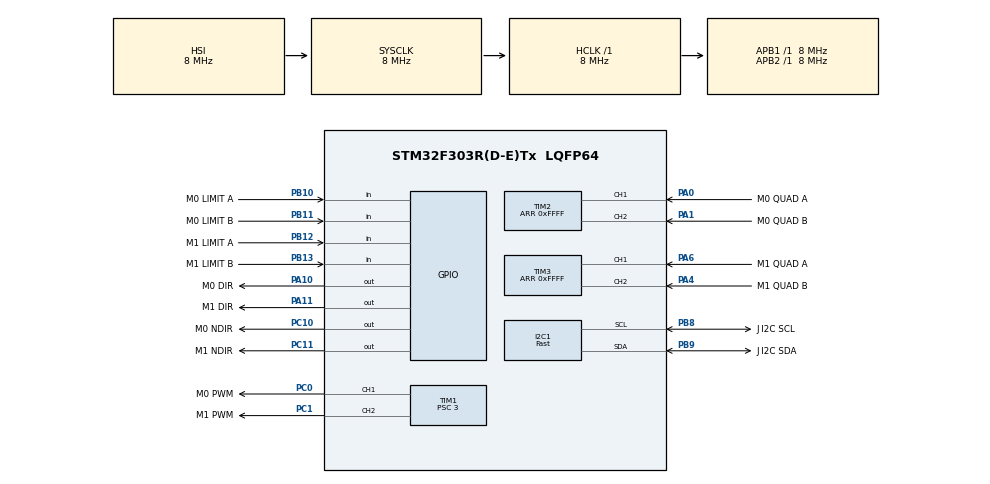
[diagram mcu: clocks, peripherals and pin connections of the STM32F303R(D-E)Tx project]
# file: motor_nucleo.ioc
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I2C1.DualAddressMode=I2C_DUALADDRESS_ENABLE
I2C1.I2C_Speed_Mode=I2C_Fast
I2C1.NoStretchMode=I2C_NOSTRETCH_DISABLE
I2C1.OwnAddress=0x7F
I2C1.OwnAddress2=I2C_ADDRESS
I2C1.OwnAddress2Masks=I2C_OA2_MASK04
I2C1.Timing=0x0000020B
Mcu.Family=STM32F3
Mcu.Name=STM32F303R(D-E)Tx
Mcu.Package=LQFP64
Mcu.UserConstants=CONTROL_LOOP_PERIOD,1000;I2C_ADDRESS,0x20;CHANNELS,6;QUADRATURE_FILTER,8;PWM_PERIOD,10000
NVIC.I2C1_ER_IRQn=true\:0\:0\:false\:false\:true\:true\:true\:true
NVIC.I2C1_EV_IRQn=true\:0\:0\:false\:false\:true\:true\:true\:true
NVIC.PriorityGroup=NVIC_PRIORITYGROUP_4
NVIC.TIM6_DAC_IRQn=true\:1\:0\:true\:false\:true\:true\:true\:true
PA0.GPIO_Label=M0 QUAD A
PA0.Signal=S_TIM2_CH1_ETR
PA1.GPIO_Label=M0 QUAD B
PA1.Signal=S_TIM2_CH2
PA10.GPIO_Label=M0 DIR
PA10.Signal=GPIO_Output
PA11.GPIO_Label=M1 DIR
PA11.Signal=GPIO_Output
PA4.GPIO_Label=M1 QUAD B
PA4.Signal=S_TIM3_CH2
PA6.GPIO_Label=M1 QUAD A
PA6.Signal=S_TIM3_CH1
PB10.GPIO_Label=M0 LIMIT A
PB10.GPIO_PuPd=GPIO_PULLDOWN
PB10.Signal=GPIO_Input
PB11.GPIO_Label=M0 LIMIT B
PB11.GPIO_PuPd=GPIO_PULLDOWN
PB11.Signal=GPIO_Input
PB12.GPIO_Label=M1 LIMIT A
PB12.GPIO_PuPd=GPIO_PULLDOWN
PB12.Signal=GPIO_Input
PB13.GPIO_Label=M1 LIMIT B
PB13.GPIO_PuPd=GPIO_PULLDOWN
PB13.Signal=GPIO_Input
PB8.GPIO_Label=J I2C SCL
PB8.GPIO_Pu=GPIO_PULLUP
PB8.Mode=I2C
PB8.Signal=I2C1_SCL
PB9.GPIO_Label=J I2C SDA
PB9.GPIO_Pu=GPIO_PULLUP
PB9.Mode=I2C
PB9.Signal=I2C1_SDA
PC0.GPIO_Label=M0 PWM
PC0.Signal=S_TIM1_CH1
PC1.GPIO_Label=M1 PWM
PC1.Signal=S_TIM1_CH2
PC10.GPIO_Label=M0 NDIR
PC10.Signal=GPIO_Output
PC11.GPIO_Label=M1 NDIR
PC11.Signal=GPIO_Output
ProjectManager.HeapSize=0x200
ProjectManager.StackSize=0x400
ProjectManager.TargetToolchain=STM32CubeIDE
RCC.AHBFreq_Value=8000000
RCC.APB1Freq_Value=8000000
RCC.APB2Freq_Value=8000000
RCC.CortexFreq_Value=8000000
RCC.HSE_VALUE=8000000
RCC.HSI_VALUE=8000000
RCC.LSE_VALUE=32768
RCC.SYSCLKFreq_VALUE=8000000
RCC.USBFreq_Value=16000000
SH.S_TIM1_CH1.0=TIM1_CH1,PWM Generation1 CH1
SH.S_TIM1_CH2.0=TIM1_CH2,PWM Generation2 CH2
SH.S_TIM2_CH1_ETR.0=TIM2_CH1,Encoder_Interface
SH.S_TIM2_CH2.0=TIM2_CH2,Encoder_Interface
SH.S_TIM3_CH1.0=TIM3_CH1,Encoder_Interface
SH.S_TIM3_CH2.0=TIM3_CH2,Encoder_Interface
TIM1.Channel-PWM\ Generation1\ CH1=TIM_CHANNEL_1
TIM1.Channel-PWM\ Generation2\ CH2=TIM_CHANNEL_2
TIM1.Period=100
TIM1.Prescaler=3
TIM2.IC1Filter=QUADRATURE_FILTER
TIM2.IC2Filter=QUADRATURE_FILTER
TIM2.Period=0xFFFF
TIM3.IC1Filter=QUADRATURE_FILTER
TIM3.IC2Filter=QUADRATURE_FILTER
TIM3.Period=0xFFFF
TIM6.Period=CONTROL_LOOP_PERIOD
TIM6.Prescaler=7
TIM8.Period=1000
TIM8.Prescaler=7
VP_TIM1_VS_ClockSourceINT.Mode=Internal
VP_TIM6_VS_ClockSourceINT.Mode=Enable_Timer
VP_TIM8_VS_ClockSourceINT.Mode=Internal
board=custom

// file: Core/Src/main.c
/* USER CODE BEGIN Header */
/**
 ******************************************************************************
 * @file           : main.c
 * @brief          : Main program body
 ******************************************************************************
 * @attention
 *
 * <h2><center>&copy; Copyright (c) 2020 STMicroelectronics.
 * All rights reserved.</center></h2>
 *
 * This software component is licensed by ST under BSD 3-Clause license,
 * the "License"; You may not use this file except in compliance with the
 * License. You may obtain a copy of the License at:
 *                        opensource.org/licenses/BSD-3-Clause
 *
 ******************************************************************************
 */
/* USER CODE END Header */
#include "main.h"

/* USER CODE BEGIN Includes */
#include "motor.h"
#include "i2c_bridge.h"

/* USER CODE END Includes */

/* USER CODE BEGIN PD */

#define NUM_MOTORS 1  // TODO make this 6, not 1

/* USER CODE END PD */

I2C_HandleTypeDef hi2c1;

TIM_HandleTypeDef htim1;
TIM_HandleTypeDef htim2;
TIM_HandleTypeDef htim3;
TIM_HandleTypeDef htim6;
TIM_HandleTypeDef htim8;

/* USER CODE BEGIN PV */

Pin *hbridge_forward_pins[NUM_MOTORS] = {NULL};
Pin *hbridge_backward_pins[NUM_MOTORS] = {NULL};
HBridge *hbridges[NUM_MOTORS] = {NULL};

Pin *forward_limit_switch_pins[NUM_MOTORS] = {NULL};
Pin *backward_limit_switch_pins[NUM_MOTORS] = {NULL};

LimitSwitch *forward_limit_switches[NUM_MOTORS] = {NULL};
LimitSwitch *backward_limit_switches[NUM_MOTORS] = {NULL};

QuadEncoder *quad_encoders[NUM_MOTORS] = {NULL};

ClosedLoopControl *controls[NUM_MOTORS] = {NULL};

Motor *motors[NUM_MOTORS] = {NULL};
I2CBus *i2c_bus;

/* USER CODE END PV */

void SystemClock_Config(void);
static void MX_GPIO_Init(void);
static void MX_I2C1_Init(void);
static void MX_TIM1_Init(void);
static void MX_TIM2_Init(void);
static void MX_TIM3_Init(void);
static void MX_TIM8_Init(void);
static void MX_TIM6_Init(void);

/* USER CODE BEGIN 0 */

void HAL_TIM_PeriodElapsedCallback(TIM_HandleTypeDef *htim) {
    static float prev_speed = -1;
    if (htim == &htim6) {
        for (size_t i = 0; i < NUM_MOTORS; ++i) {
            if (quad_encoders[i]) {
                update_quad_encoder(quad_encoders[i]);
            }
            if (forward_limit_switches[i]) {
                update_limit_switch(forward_limit_switches[i]);
            }
            if (backward_limit_switches[i]) {
                update_limit_switch(backward_limit_switches[i]);
            }
            if (motors[i]->desired_speed != prev_speed) {
                prev_speed = motors[i]->desired_speed;
                update_motor_target(motors[i]);
                update_motor_speed(motors[i]);
            }
        }
    }
}

void HAL_I2C_AddrCallback(I2C_HandleTypeDef *hi2c, uint8_t TransferDirection, uint16_t AddrMatchCode) {
    i2c_bus->motor_id = (0x000F & (AddrMatchCode >> 1));
    if (TransferDirection == I2C_DIRECTION_TRANSMIT) {
        HAL_I2C_Slave_Seq_Receive_IT(i2c_bus->i2c_bus_handle, i2c_bus->buffer, 1, I2C_LAST_FRAME);
        i2c_bus->operation = UNKNOWN;
    } else {
        if (i2c_bus->motor_id < NUM_MOTORS) {
            CH_prepare_send(i2c_bus, motors[i2c_bus->motor_id]);
        }
        uint8_t bytes_to_send = CH_num_send(i2c_bus);
        if (bytes_to_send != 0) {
            HAL_I2C_Slave_Seq_Transmit_IT(i2c_bus->i2c_bus_handle, i2c_bus->buffer, bytes_to_send, I2C_LAST_FRAME);
        }
    }
    //HAL_IWDG_Refresh(watch_dog_handle);
    i2c_bus->tick = 0;
}

void HAL_I2C_SlaveRxCpltCallback(I2C_HandleTypeDef *hi2c) {
    if (i2c_bus->operation == UNKNOWN) {
        i2c_bus->operation = i2c_bus->buffer[0];
        uint8_t bytes_to_recieve = CH_num_receive(i2c_bus);
        if (bytes_to_recieve != 0) {
            HAL_I2C_Slave_Seq_Receive_IT(i2c_bus->i2c_bus_handle, i2c_bus->buffer, bytes_to_recieve, I2C_LAST_FRAME);
        } else {
            if (i2c_bus->motor_id < NUM_MOTORS) {
                CH_process_received(i2c_bus, motors[i2c_bus->motor_id]);
            }
        }
    } else {
        if (i2c_bus->motor_id < NUM_MOTORS) {
            CH_process_received(i2c_bus, motors[i2c_bus->motor_id]);
        }
    }
}

void HAL_I2C_ErrorCallback(I2C_HandleTypeDef *hi2c) {
    CH_reset(i2c_bus, motors, NUM_MOTORS);
}

void HAL_I2C_ListenCpltCallback(I2C_HandleTypeDef *hi2c) {
    HAL_I2C_EnableListen_IT(i2c_bus->i2c_bus_handle);
}

/* USER CODE END 0 */

int main(void)
{

  /* MCU Configuration--------------------------------------------------------*/

  /* Reset of all peripherals, Initializes the Flash interface and the Systick. */
  HAL_Init();

  /* USER CODE BEGIN Init */

    hbridge_forward_pins[0] = new_pin(GPIOA, GPIO_PIN_10);
//	hbridge_forward_pins[1] = new_pin(GPIOX, GPIO_PIN_0);
//	hbridge_forward_pins[2] = new_pin(GPIOX, GPIO_PIN_0);
//	hbridge_forward_pins[3] = new_pin(GPIOX, GPIO_PIN_0);
//	hbridge_forward_pins[4] = new_pin(GPIOX, GPIO_PIN_0);
//	hbridge_forward_pins[5] = new_pin(GPIOX, GPIO_PIN_0);

    hbridge_backward_pins[0] = new_pin(GPIOC, GPIO_PIN_10);
//	hbridge_backward_pins[1] = new_pin(GPIOX, GPIO_PIN_0);
//	hbridge_backward_pins[2] = new_pin(GPIOX, GPIO_PIN_0);
//	hbridge_backward_pins[3] = new_pin(GPIOX, GPIO_PIN_0);
//	hbridge_backward_pins[4] = new_pin(GPIOX, GPIO_PIN_0);
//	hbridge_backward_pins[5] = new_pin(GPIOX, GPIO_PIN_0);

    hbridges[0] = new_hbridge(&htim1, TIM_CHANNEL_1, &(TIM1->CCR1), &(TIM1->ARR), hbridge_forward_pins[0],
                              hbridge_backward_pins[0]);
//	hbridges[1] = new_hbridge(&htimX, TIM_CHANNEL_X, &(TIM1->CCRX), TIMX->ARR, hbridge_forward_pins[1], hbridge_backward_pins[1]);
//	hbridges[2] = new_hbridge(&htimX, TIM_CHANNEL_X, &(TIM1->CCRX), TIMX->ARR, hbridge_forward_pins[2], hbridge_backward_pins[2]);
//	hbridges[3] = new_hbridge(&htimX, TIM_CHANNEL_X, &(TIM1->CCRX), TIMX->ARR, hbridge_forward_pins[3], hbridge_backward_pins[3]);
//	hbridges[4] = new_hbridge(&htimX, TIM_CHANNEL_X, &(TIM1->CCRX), TIMX->ARR, hbridge_forward_pins[4], hbridge_backward_pins[4]);
//	hbridges[5] = new_hbridge(&htimX, TIM_CHANNEL_X, &(TIM1->CCRX), TIMX->ARR, hbridge_forward_pins[5], hbridge_backward_pins[5]);

    for (size_t i = 0; i < NUM_MOTORS; ++i) {
        if (hbridges[i]) {
            init_hbridge(hbridges[i], 0.0f, true);
        }
    }

    forward_limit_switch_pins[0] = new_pin(GPIOB, GPIO_PIN_10);
//	forward_limit_switch_pins[1] = new_pin(GPIOX, GPIO_PIN_0);
//	forward_limit_switch_pins[2] = new_pin(GPIOX, GPIO_PIN_0);
//	forward_limit_switch_pins[3] = new_pin(GPIOX, GPIO_PIN_0);
//	forward_limit_switch_pins[4] = new_pin(GPIOX, GPIO_PIN_0);
//	forward_limit_switch_pins[5] = new_pin(GPIOX, GPIO_PIN_0);

    backward_limit_switch_pins[0] = new_pin(GPIOB, GPIO_PIN_11);
//	backward_limit_switch_pins[1] = new_pin(GPIOX, GPIO_PIN_0);
//	backward_limit_switch_pins[2] = new_pin(GPIOX, GPIO_PIN_0);
//	backward_limit_switch_pins[3] = new_pin(GPIOX, GPIO_PIN_0);
//	backward_limit_switch_pins[4] = new_pin(GPIOX, GPIO_PIN_0);
//	backward_limit_switch_pins[5] = new_pin(GPIOX, GPIO_PIN_0);

    for (size_t i = 0; i < NUM_MOTORS; ++i) {
        if (forward_limit_switches[i]) {
            forward_limit_switches[i] = new_limit_switch(forward_limit_switch_pins[i]);
        }
        if (backward_limit_switches[i]) {
            backward_limit_switches[i] = new_limit_switch(backward_limit_switch_pins[i]);
        }
    }

    quad_encoders[0] = new_quad_encoder(&htim2, TIM2);
//	quad_encoders[1] = new_quad_encoder(&htimX, TIMX);
//	quad_encoders[2] = new_quad_encoder(&htimX, TIMX);
//	quad_encoders[3] = new_quad_encoder(&htimX, TIMX);
//	quad_encoders[4] = new_quad_encoder(&htimX, TIMX);
//	quad_encoders[5] = new_quad_encoder(&htimX, TIMX);

    for (size_t i = 0; i < NUM_MOTORS; ++i) {
        if (quad_encoders[i]) {
            init_quad_encoder(quad_encoders[i]);
        }
    }

    for (size_t i = 0; i < NUM_MOTORS; ++i) {
        controls[i] = new_closed_loop_control(0.01f, 0.0f, 0.0f, 0.0f);
    }

    for (size_t i = 0; i < NUM_MOTORS; ++i) {
        motors[i] = new_motor(
                hbridges[i],
                forward_limit_switches[i],
                backward_limit_switches[i],
                quad_encoders[i],
                controls[i]);
        init_motor(motors[i], 0.0f);
    }

  /* USER CODE END Init */

  /* Configure the system clock */
  SystemClock_Config();

  /* Initialize all configured peripherals */
  MX_GPIO_Init();
  MX_I2C1_Init();
  MX_TIM1_Init();
  MX_TIM2_Init();
  MX_TIM3_Init();
  MX_TIM8_Init();
  MX_TIM6_Init();
  /* USER CODE BEGIN 2 */

    i2c_bus = new_i2c_bus(&hi2c1);

    HAL_TIM_PWM_Start(&htim1, TIM_CHANNEL_1);
    HAL_TIM_Encoder_Start(&htim2, TIM_CHANNEL_ALL);
    HAL_TIM_Base_Start_IT(&htim6);
    HAL_I2C_EnableListen_IT(&hi2c1);

  /* USER CODE END 2 */

  /* Infinite loop */
  /* USER CODE BEGIN WHILE */
    int counter = 0;
    //motors[0]->control->kF = 0;
    motors[0]->using_open_loop_control = 1;
    while (1) {

        /*if (counter > 5) {
            if (motors[0]->desired_speed == 1) {
                motors[0]->desired_speed = -1;
            } else {
                motors[0]->desired_speed += 0.1;
            }

            //motors[0]->desired_counts += 1;
            counter = 0;
        } else {
            ++counter;
        }*/

//    	if (motors[0]->desired_speed >= 0.9) {
//    	    motors[0]->desired_speed = 0;
//    	} else {
//    		motors[0]->desired_speed += 0.01;
//    	}
//
//    	//motors[0]->desired_speed = -0.5;
//    	HAL_Delay(50);

    /* USER CODE END WHILE */

    /* USER CODE BEGIN 3 */
        // HAL_Delay(50);
    }

  /* USER CODE END 3 */
}

void SystemClock_Config(void)
{
  RCC_OscInitTypeDef RCC_OscInitStruct = {0};
  RCC_ClkInitTypeDef RCC_ClkInitStruct = {0};
  RCC_PeriphCLKInitTypeDef PeriphClkInit = {0};

  /** Initializes the RCC Oscillators according to the specified parameters
  * in the RCC_OscInitTypeDef structure.
  */
  RCC_OscInitStruct.OscillatorType = RCC_OSCILLATORTYPE_HSI;
  RCC_OscInitStruct.HSIState = RCC_HSI_ON;
  RCC_OscInitStruct.HSICalibrationValue = RCC_HSICALIBRATION_DEFAULT;
  RCC_OscInitStruct.PLL.PLLState = RCC_PLL_NONE;
  if (HAL_RCC_OscConfig(&RCC_OscInitStruct) != HAL_OK)
  {
    Error_Handler();
  }

  /** Initializes the CPU, AHB and APB buses clocks
  */
  RCC_ClkInitStruct.ClockType = RCC_CLOCKTYPE_HCLK|RCC_CLOCKTYPE_SYSCLK
                              |RCC_CLOCKTYPE_PCLK1|RCC_CLOCKTYPE_PCLK2;
  RCC_ClkInitStruct.SYSCLKSource = RCC_SYSCLKSOURCE_HSI;
  RCC_ClkInitStruct.AHBCLKDivider = RCC_SYSCLK_DIV1;
  RCC_ClkInitStruct.APB1CLKDivider = RCC_HCLK_DIV1;
  RCC_ClkInitStruct.APB2CLKDivider = RCC_HCLK_DIV1;

  if (HAL_RCC_ClockConfig(&RCC_ClkInitStruct, FLASH_LATENCY_0) != HAL_OK)
  {
    Error_Handler();
  }
  PeriphClkInit.PeriphClockSelection = RCC_PERIPHCLK_I2C1|RCC_PERIPHCLK_TIM1
                              |RCC_PERIPHCLK_TIM8|RCC_PERIPHCLK_TIM2
                              |RCC_PERIPHCLK_TIM34;
  PeriphClkInit.I2c1ClockSelection = RCC_I2C1CLKSOURCE_HSI;
  PeriphClkInit.Tim1ClockSelection = RCC_TIM1CLK_HCLK;
  PeriphClkInit.Tim8ClockSelection = RCC_TIM8CLK_HCLK;
  PeriphClkInit.Tim2ClockSelection = RCC_TIM2CLK_HCLK;
  PeriphClkInit.Tim34ClockSelection = RCC_TIM34CLK_HCLK;
  if (HAL_RCCEx_PeriphCLKConfig(&PeriphClkInit) != HAL_OK)
  {
    Error_Handler();
  }
}

static void MX_I2C1_Init(void)
{

  hi2c1.Instance = I2C1;
  hi2c1.Init.Timing = 0x0000020B;
  hi2c1.Init.OwnAddress1 = 254;
  hi2c1.Init.AddressingMode = I2C_ADDRESSINGMODE_7BIT;
  hi2c1.Init.DualAddressMode = I2C_DUALADDRESS_ENABLE;
  hi2c1.Init.OwnAddress2 = 64;
  hi2c1.Init.OwnAddress2Masks = I2C_OA2_MASK04;
  hi2c1.Init.GeneralCallMode = I2C_GENERALCALL_DISABLE;
  hi2c1.Init.NoStretchMode = I2C_NOSTRETCH_DISABLE;
  if (HAL_I2C_Init(&hi2c1) != HAL_OK)
  {
    Error_Handler();
  }

  /** Configure Analogue filter
  */
  if (HAL_I2CEx_ConfigAnalogFilter(&hi2c1, I2C_ANALOGFILTER_ENABLE) != HAL_OK)
  {
    Error_Handler();
  }

  /** Configure Digital filter
  */
  if (HAL_I2CEx_ConfigDigitalFilter(&hi2c1, 0) != HAL_OK)
  {
    Error_Handler();
  }

}

static void MX_TIM1_Init(void)
{

  TIM_ClockConfigTypeDef sClockSourceConfig = {0};
  TIM_MasterConfigTypeDef sMasterConfig = {0};
  TIM_OC_InitTypeDef sConfigOC = {0};
  TIM_BreakDeadTimeConfigTypeDef sBreakDeadTimeConfig = {0};

  htim1.Instance = TIM1;
  htim1.Init.Prescaler = 3;
  htim1.Init.CounterMode = TIM_COUNTERMODE_UP;
  htim1.Init.Period = 100;
  htim1.Init.ClockDivision = TIM_CLOCKDIVISION_DIV1;
  htim1.Init.RepetitionCounter = 0;
  htim1.Init.AutoReloadPreload = TIM_AUTORELOAD_PRELOAD_DISABLE;
  if (HAL_TIM_Base_Init(&htim1) != HAL_OK)
  {
    Error_Handler();
  }
  sClockSourceConfig.ClockSource = TIM_CLOCKSOURCE_INTERNAL;
  if (HAL_TIM_ConfigClockSource(&htim1, &sClockSourceConfig) != HAL_OK)
  {
    Error_Handler();
  }
  if (HAL_TIM_PWM_Init(&htim1) != HAL_OK)
  {
    Error_Handler();
  }
  sMasterConfig.MasterOutputTrigger = TIM_TRGO_RESET;
  sMasterConfig.MasterOutputTrigger2 = TIM_TRGO2_RESET;
  sMasterConfig.MasterSlaveMode = TIM_MASTERSLAVEMODE_DISABLE;
  if (HAL_TIMEx_MasterConfigSynchronization(&htim1, &sMasterConfig) != HAL_OK)
  {
    Error_Handler();
  }
  sConfigOC.OCMode = TIM_OCMODE_PWM1;
  sConfigOC.Pulse = 0;
  sConfigOC.OCPolarity = TIM_OCPOLARITY_HIGH;
  sConfigOC.OCNPolarity = TIM_OCNPOLARITY_HIGH;
  sConfigOC.OCFastMode = TIM_OCFAST_DISABLE;
  sConfigOC.OCIdleState = TIM_OCIDLESTATE_RESET;
  sConfigOC.OCNIdleState = TIM_OCNIDLESTATE_RESET;
  if (HAL_TIM_PWM_ConfigChannel(&htim1, &sConfigOC, TIM_CHANNEL_1) != HAL_OK)
  {
    Error_Handler();
  }
  if (HAL_TIM_PWM_ConfigChannel(&htim1, &sConfigOC, TIM_CHANNEL_2) != HAL_OK)
  {
    Error_Handler();
  }
  sBreakDeadTimeConfig.OffStateRunMode = TIM_OSSR_DISABLE;
  sBreakDeadTimeConfig.OffStateIDLEMode = TIM_OSSI_DISABLE;
  sBreakDeadTimeConfig.LockLevel = TIM_LOCKLEVEL_OFF;
  sBreakDeadTimeConfig.DeadTime = 0;
  sBreakDeadTimeConfig.BreakState = TIM_BREAK_DISABLE;
  sBreakDeadTimeConfig.BreakPolarity = TIM_BREAKPOLARITY_HIGH;
  sBreakDeadTimeConfig.BreakFilter = 0;
  sBreakDeadTimeConfig.Break2State = TIM_BREAK2_DISABLE;
  sBreakDeadTimeConfig.Break2Polarity = TIM_BREAK2POLARITY_HIGH;
  sBreakDeadTimeConfig.Break2Filter = 0;
  sBreakDeadTimeConfig.AutomaticOutput = TIM_AUTOMATICOUTPUT_DISABLE;
  if (HAL_TIMEx_ConfigBreakDeadTime(&htim1, &sBreakDeadTimeConfig) != HAL_OK)
  {
    Error_Handler();
  }
  HAL_TIM_MspPostInit(&htim1);

}

static void MX_TIM2_Init(void)
{

  TIM_Encoder_InitTypeDef sConfig = {0};
  TIM_MasterConfigTypeDef sMasterConfig = {0};

  htim2.Instance = TIM2;
  htim2.Init.Prescaler = 0;
  htim2.Init.CounterMode = TIM_COUNTERMODE_UP;
  htim2.Init.Period = 0xFFFF;
  htim2.Init.ClockDivision = TIM_CLOCKDIVISION_DIV1;
  htim2.Init.AutoReloadPreload = TIM_AUTORELOAD_PRELOAD_DISABLE;
  sConfig.EncoderMode = TIM_ENCODERMODE_TI1;
  sConfig.IC1Polarity = TIM_ICPOLARITY_RISING;
  sConfig.IC1Selection = TIM_ICSELECTION_DIRECTTI;
  sConfig.IC1Prescaler = TIM_ICPSC_DIV1;
  sConfig.IC1Filter = QUADRATURE_FILTER;
  sConfig.IC2Polarity = TIM_ICPOLARITY_RISING;
  sConfig.IC2Selection = TIM_ICSELECTION_DIRECTTI;
  sConfig.IC2Prescaler = TIM_ICPSC_DIV1;
  sConfig.IC2Filter = QUADRATURE_FILTER;
  if (HAL_TIM_Encoder_Init(&htim2, &sConfig) != HAL_OK)
  {
    Error_Handler();
  }
  sMasterConfig.MasterOutputTrigger = TIM_TRGO_RESET;
  sMasterConfig.MasterSlaveMode = TIM_MASTERSLAVEMODE_DISABLE;
  if (HAL_TIMEx_MasterConfigSynchronization(&htim2, &sMasterConfig) != HAL_OK)
  {
    Error_Handler();
  }

}

static void MX_TIM3_Init(void)
{

  TIM_Encoder_InitTypeDef sConfig = {0};
  TIM_MasterConfigTypeDef sMasterConfig = {0};

  htim3.Instance = TIM3;
  htim3.Init.Prescaler = 0;
  htim3.Init.CounterMode = TIM_COUNTERMODE_UP;
  htim3.Init.Period = 0xFFFF;
  htim3.Init.ClockDivision = TIM_CLOCKDIVISION_DIV1;
  htim3.Init.AutoReloadPreload = TIM_AUTORELOAD_PRELOAD_DISABLE;
  sConfig.EncoderMode = TIM_ENCODERMODE_TI1;
  sConfig.IC1Polarity = TIM_ICPOLARITY_RISING;
  sConfig.IC1Selection = TIM_ICSELECTION_DIRECTTI;
  sConfig.IC1Prescaler = TIM_ICPSC_DIV1;
  sConfig.IC1Filter = QUADRATURE_FILTER;
  sConfig.IC2Polarity = TIM_ICPOLARITY_RISING;
  sConfig.IC2Selection = TIM_ICSELECTION_DIRECTTI;
  sConfig.IC2Prescaler = TIM_ICPSC_DIV1;
  sConfig.IC2Filter = QUADRATURE_FILTER;
  if (HAL_TIM_Encoder_Init(&htim3, &sConfig) != HAL_OK)
  {
    Error_Handler();
  }
  sMasterConfig.MasterOutputTrigger = TIM_TRGO_RESET;
  sMasterConfig.MasterSlaveMode = TIM_MASTERSLAVEMODE_DISABLE;
  if (HAL_TIMEx_MasterConfigSynchronization(&htim3, &sMasterConfig) != HAL_OK)
  {
    Error_Handler();
  }

}

static void MX_TIM6_Init(void)
{

  TIM_MasterConfigTypeDef sMasterConfig = {0};

  htim6.Instance = TIM6;
  htim6.Init.Prescaler = 7;
  htim6.Init.CounterMode = TIM_COUNTERMODE_UP;
  htim6.Init.Period = CONTROL_LOOP_PERIOD;
  htim6.Init.AutoReloadPreload = TIM_AUTORELOAD_PRELOAD_DISABLE;
  if (HAL_TIM_Base_Init(&htim6) != HAL_OK)
  {
    Error_Handler();
  }
  sMasterConfig.MasterOutputTrigger = TIM_TRGO_RESET;
  sMasterConfig.MasterSlaveMode = TIM_MASTERSLAVEMODE_DISABLE;
  if (HAL_TIMEx_MasterConfigSynchronization(&htim6, &sMasterConfig) != HAL_OK)
  {
    Error_Handler();
  }

}

static void MX_TIM8_Init(void)
{

  TIM_ClockConfigTypeDef sClockSourceConfig = {0};
  TIM_MasterConfigTypeDef sMasterConfig = {0};

  htim8.Instance = TIM8;
  htim8.Init.Prescaler = 7;
  htim8.Init.CounterMode = TIM_COUNTERMODE_UP;
  htim8.Init.Period = 1000;
  htim8.Init.ClockDivision = TIM_CLOCKDIVISION_DIV1;
  htim8.Init.RepetitionCounter = 0;
  htim8.Init.AutoReloadPreload = TIM_AUTORELOAD_PRELOAD_DISABLE;
  if (HAL_TIM_Base_Init(&htim8) != HAL_OK)
  {
    Error_Handler();
  }
  sClockSourceConfig.ClockSource = TIM_CLOCKSOURCE_INTERNAL;
  if (HAL_TIM_ConfigClockSource(&htim8, &sClockSourceConfig) != HAL_OK)
  {
    Error_Handler();
  }
  sMasterConfig.MasterOutputTrigger = TIM_TRGO_RESET;
  sMasterConfig.MasterOutputTrigger2 = TIM_TRGO2_RESET;
  sMasterConfig.MasterSlaveMode = TIM_MASTERSLAVEMODE_DISABLE;
  if (HAL_TIMEx_MasterConfigSynchronization(&htim8, &sMasterConfig) != HAL_OK)
  {
    Error_Handler();
  }

}

static void MX_GPIO_Init(void)
{
  GPIO_InitTypeDef GPIO_InitStruct = {0};

  /* GPIO Ports Clock Enable */
  __HAL_RCC_GPIOC_CLK_ENABLE();
  __HAL_RCC_GPIOA_CLK_ENABLE();
  __HAL_RCC_GPIOB_CLK_ENABLE();

  /*Configure GPIO pin Output Level */
  HAL_GPIO_WritePin(GPIOA, M0_DIR_Pin|M1_DIR_Pin, GPIO_PIN_RESET);

  /*Configure GPIO pin Output Level */
  HAL_GPIO_WritePin(GPIOC, M0_NDIR_Pin|M1_NDIR_Pin, GPIO_PIN_RESET);

  /*Configure GPIO pins : M0_LIMIT_A_Pin M0_LIMIT_B_Pin M1_LIMIT_A_Pin M1_LIMIT_B_Pin */
  GPIO_InitStruct.Pin = M0_LIMIT_A_Pin|M0_LIMIT_B_Pin|M1_LIMIT_A_Pin|M1_LIMIT_B_Pin;
  GPIO_InitStruct.Mode = GPIO_MODE_INPUT;
  GPIO_InitStruct.Pull = GPIO_PULLDOWN;
  HAL_GPIO_Init(GPIOB, &GPIO_InitStruct);

  /*Configure GPIO pins : M0_DIR_Pin M1_DIR_Pin */
  GPIO_InitStruct.Pin = M0_DIR_Pin|M1_DIR_Pin;
  GPIO_InitStruct.Mode = GPIO_MODE_OUTPUT_PP;
  GPIO_InitStruct.Pull = GPIO_NOPULL;
  GPIO_InitStruct.Speed = GPIO_SPEED_FREQ_LOW;
  HAL_GPIO_Init(GPIOA, &GPIO_InitStruct);

  /*Configure GPIO pins : M0_NDIR_Pin M1_NDIR_Pin */
  GPIO_InitStruct.Pin = M0_NDIR_Pin|M1_NDIR_Pin;
  GPIO_InitStruct.Mode = GPIO_MODE_OUTPUT_PP;
  GPIO_InitStruct.Pull = GPIO_NOPULL;
  GPIO_InitStruct.Speed = GPIO_SPEED_FREQ_LOW;
  HAL_GPIO_Init(GPIOC, &GPIO_InitStruct);

}

void Error_Handler(void)
{
}
